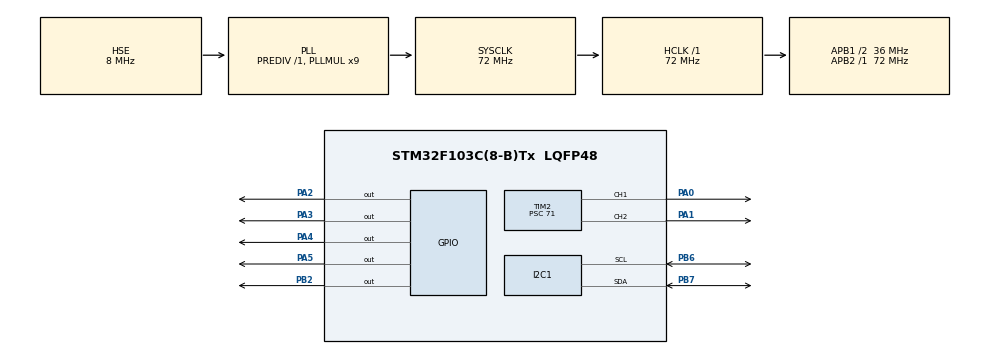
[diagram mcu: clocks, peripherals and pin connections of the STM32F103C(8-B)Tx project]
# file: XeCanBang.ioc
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I2C1.I2C_Mode=I2C_Fast
Mcu.Family=STM32F1
Mcu.Name=STM32F103C(8-B)Tx
Mcu.Package=LQFP48
NVIC.PriorityGroup=NVIC_PRIORITYGROUP_4
PA0-WKUP.Signal=S_TIM2_CH1_ETR
PA1.Signal=S_TIM2_CH2
PA13.Mode=Serial_Wire
PA13.Signal=SYS_JTMS-SWDIO
PA14.Mode=Serial_Wire
PA14.Signal=SYS_JTCK-SWCLK
PA2.Signal=GPIO_Output
PA3.Signal=GPIO_Output
PA4.Signal=GPIO_Output
PA5.Signal=GPIO_Output
PB2.Signal=GPIO_Output
PB6.Mode=I2C
PB6.Signal=I2C1_SCL
PB7.Mode=I2C
PB7.Signal=I2C1_SDA
PD0-OSC_IN.Mode=HSE-External-Oscillator
PD0-OSC_IN.Signal=RCC_OSC_IN
PD1-OSC_OUT.Mode=HSE-External-Oscillator
PD1-OSC_OUT.Signal=RCC_OSC_OUT
ProjectManager.HeapSize=0x200
ProjectManager.StackSize=0x400
ProjectManager.TargetToolchain=MDK-ARM V5.32
RCC.AHBFreq_Value=72000000
RCC.APB1CLKDivider=RCC_HCLK_DIV2
RCC.APB1Freq_Value=36000000
RCC.APB1TimFreq_Value=72000000
RCC.APB2Freq_Value=72000000
RCC.APB2TimFreq_Value=72000000
RCC.HCLKFreq_Value=72000000
RCC.PLLMUL=RCC_PLL_MUL9
RCC.PLLSourceVirtual=RCC_PLLSOURCE_HSE
RCC.SYSCLKFreq_VALUE=72000000
RCC.SYSCLKSource=RCC_SYSCLKSOURCE_PLLCLK
RCC.USBFreq_Value=72000000
SH.S_TIM2_CH1_ETR.0=TIM2_CH1,PWM Generation1 CH1
SH.S_TIM2_CH2.0=TIM2_CH2,PWM Generation2 CH2
TIM1.Prescaler=71
TIM2.Channel-PWM\ Generation1\ CH1=TIM_CHANNEL_1
TIM2.Channel-PWM\ Generation2\ CH2=TIM_CHANNEL_2
TIM2.Period=999
TIM2.Prescaler=71
VP_TIM1_VS_ClockSourceINT.Mode=Internal
VP_TIM2_VS_ClockSourceINT.Mode=Internal
board=custom

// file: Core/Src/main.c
/* USER CODE BEGIN Header */
/**
  ******************************************************************************
  * @file           : main.c
  * @brief          : Main program body
  ******************************************************************************
  * @attention
  *
  * Copyright (c) 2025 STMicroelectronics.
  * All rights reserved.
  *
  * This software is licensed under terms that can be found in the LICENSE file
  * in the root directory of this software component.
  * If no LICENSE file comes with this software, it is provided AS-IS.
  *
  ******************************************************************************
  */
/* USER CODE END Header */
#include "main.h"

/* USER CODE BEGIN Includes */
#include "math.h"
/* USER CODE END Includes */

/* USER CODE BEGIN PD */
#define 		ADD 		0xD0
#define     RTD     57.2957
/* USER CODE END PD */

I2C_HandleTypeDef hi2c1;

TIM_HandleTypeDef htim1;
TIM_HandleTypeDef htim2;

/* USER CODE BEGIN PV */
int16_t ax = 0, ay = 0 , az = 0, gx = 0 ,gy = 0 , gz = 0;
float AX,AY,AZ,GX,GY,GZ;
float pitch = 0;
float roll = 0;
/*
--------2x18650--------
float Kp = 300;          // (P)roportional Tuning Parameter
float Ki = 2000;          // (I)ntegral Tuning Parameter
float Kd =5;          // (D)erivative Tuning Parameter
-----------------------
*/
//--------4x18650 & buck 12v-------------
float Kp = 330;          // (P)roportional Tuning Parameter
float Ki = 6000;          // (I)ntegral Tuning Parameter
float Kd =4;          // (D)erivative Tuning Parameter
//---------------------------------------
float iTerm = 0;       // Used to accumulate error (integral)
float lastTime = 0;    // Records the time the function was last called
float maxPID = 999;    // The maximum value that can be output
float oldValue = 0;    // The last sensor value
float targetValue = 0;
float pwmDead = 0;
/* USER CODE END PV */

void SystemClock_Config(void);
static void MX_GPIO_Init(void);
static void MX_I2C1_Init(void);
static void MX_TIM2_Init(void);
static void MX_TIM1_Init(void);
/* USER CODE BEGIN PFP */
uint8_t MPU6050Init(void);
void MPU6050ReadG(void);
void MPU6050ReadA(void);
void filter(float AX, float AY, float AZ, float GX, float GY, float GZ,uint16_t dt);
/* USER CODE END PFP */

/* USER CODE BEGIN 0 */
uint8_t MPU6050Init(void){
	uint8_t check;
	uint8_t mData;
	HAL_I2C_Mem_Read(&hi2c1,ADD, 0x75,1, &check,1,1000);
	if(check == 0x68){
		mData = 0x01;
		HAL_I2C_Mem_Write(&hi2c1, ADD,0x6B,1,&mData,1,1000);
		mData = 0x07;
		HAL_I2C_Mem_Write(&hi2c1, ADD,0x19,1,&mData,1,1000);
		mData = 0x00;
		HAL_I2C_Mem_Write(&hi2c1, ADD,0x1B,1,&mData,1,1000);
		mData = 0x00;
		HAL_I2C_Mem_Write(&hi2c1, ADD,0x1C,1,&mData,1,1000);
		return 0;
	}
	return 1;
}
void MPU6050ReadG(void){
	uint8_t dataG[6];

	HAL_I2C_Mem_Read(&hi2c1,ADD, 0x43,1, dataG,6,1000);
	gx = (int16_t)(dataG[0] << 8 | dataG[1]);
	gy = (int16_t)(dataG[2] << 8 | dataG[3]);
	gz = (int16_t)(dataG[4] << 8 | dataG[5]);
	GX = (float)gx/131.0;
	GY = (float)gy/131.0;
	GZ = (float)gz/131.0;
}
void MPU6050ReadA(void){
	uint8_t dataA[6];
	HAL_I2C_Mem_Read(&hi2c1,ADD, 0x3B,1, dataA,6,1000);
	ax = (int16_t)(dataA[0] << 8 | dataA[1]);
	ay = (int16_t)(dataA[2] << 8 | dataA[3]);
	az = (int16_t)(dataA[4] << 8 | dataA[5]);
	AX = (float)ax/16384.0;
	AY = (float)ay/16384.0;
	AZ = (float)az/16384.0;
}
void filter(float AX, float AY, float AZ, float GX, float GY, float GZ,uint16_t dt){

	float pitchG = pitch + GX*(dt/1000000.0f);
	float rollG = roll + GY*(dt/1000000.0f);

	float pitchA = atan2(AY, sqrt(AX*AX + AZ * AZ))*RTD;
	float rollA = atan2(AX, sqrt(AY*AY + AZ*AZ))*RTD;

	pitch = 0.98*pitchG + 0.02*pitchA;
	roll = 0.98*rollG + 0.02*rollA;

}
/*
ENA: PA1
ENB: PA0
IN1: PA5
IN2: PA4
IN3: PA3
IN4: PA2
roll < 0 -> Up
roll > 0 -> Down
*/
void PWM_Start(void){
	HAL_TIM_PWM_Start(&htim2, TIM_CHANNEL_1);
	HAL_TIM_PWM_Start(&htim2, TIM_CHANNEL_2);
}
void Right_Up(void){
	HAL_GPIO_WritePin(GPIOA,GPIO_PIN_5,1);
	HAL_GPIO_WritePin(GPIOA,GPIO_PIN_4,0);
}
void Left_Up(void){
	HAL_GPIO_WritePin(GPIOA,GPIO_PIN_3,0);
	HAL_GPIO_WritePin(GPIOA,GPIO_PIN_2,1);
}
void Right_Down(void){
	HAL_GPIO_WritePin(GPIOA,GPIO_PIN_5,0);
	HAL_GPIO_WritePin(GPIOA,GPIO_PIN_4,1);
}
void Left_Down(void){
	HAL_GPIO_WritePin(GPIOA,GPIO_PIN_3,1);
	HAL_GPIO_WritePin(GPIOA,GPIO_PIN_2,0);
}
void Update_PWM(int16_t pwm){
	if(pwm > 0){
		Right_Up();
		Left_Up();
		htim2.Instance->CCR1 = pwm;
		htim2.Instance->CCR2 = pwm;
		return;
	}
	Right_Down();
	Left_Down();
	htim2.Instance->CCR1 = -pwm;
	htim2.Instance->CCR2 = -pwm;
}
void delayus(uint16_t time){
	htim1.Instance->CNT = 0;
	while(htim1.Instance->CNT < time);
}
void delayms(uint16_t time){
	for(uint16_t i = 0; i<time; i++){
		delayus(1000);
	}
}
int16_t pid(float target, float current,uint16_t dt) {
	// Calculate the time since function was last called
	float dT = (float)dt/1000000.0f;

	// Calculate error between target and current values
	float error = target - current;

	// Calculate the integral term
	iTerm += error * dT;
	// Calculate the derivative term (using the simplification)
	float dTerm = (oldValue - current) / dT;

	// Set old variable to equal new ones
	oldValue = current;

	// Multiply each term by its constant, and add it all up
	float result = (error * Kp) + (iTerm * Ki) + (dTerm * Kd);

	// Limit PID value to maximum values
	if (result > maxPID) result = maxPID;
	else if (result < -maxPID) result = -maxPID;
    if (result > 0 && result < pwmDead) result = pwmDead;
    if (result < 0 && result > -pwmDead) result = -pwmDead;

	return (int16_t)result;
}
/* USER CODE END 0 */

int main(void)
{

  /* MCU Configuration--------------------------------------------------------*/

  /* Reset of all peripherals, Initializes the Flash interface and the Systick. */
  HAL_Init();

  /* Configure the system clock */
  SystemClock_Config();

  /* Initialize all configured peripherals */
  MX_GPIO_Init();
  MX_I2C1_Init();
  MX_TIM2_Init();
  MX_TIM1_Init();
  /* USER CODE BEGIN 2 */
	MPU6050Init();
	PWM_Start();
	HAL_TIM_Base_Start(&htim1);
	HAL_GPIO_WritePin(GPIOB,GPIO_PIN_2,1);
	delayms(500);
	HAL_GPIO_WritePin(GPIOB,GPIO_PIN_2,0);
	uint16_t x = 0;
  /* USER CODE END 2 */

  /* Infinite loop */
  /* USER CODE BEGIN WHILE */
  while (1)
  {
		x=htim1.Instance->CNT;
		htim1.Instance->CNT=0;
		MPU6050ReadG();
		MPU6050ReadA();
		filter(AX, AY, AZ, GX, GY, GZ,x);
		int16_t pwmvalue = pid(targetValue, pitch,x);
		Update_PWM(pwmvalue);
		if(pitch > 70 || pitch < -70){
			HAL_TIM_PWM_Stop(&htim2, TIM_CHANNEL_1);
			HAL_TIM_PWM_Stop(&htim2, TIM_CHANNEL_2);
			while(1);
		}
    /* USER CODE END WHILE */

  }
}

void SystemClock_Config(void)
{
  RCC_OscInitTypeDef RCC_OscInitStruct = {0};
  RCC_ClkInitTypeDef RCC_ClkInitStruct = {0};

  /** Initializes the RCC Oscillators according to the specified parameters
  * in the RCC_OscInitTypeDef structure.
  */
  RCC_OscInitStruct.OscillatorType = RCC_OSCILLATORTYPE_HSE;
  RCC_OscInitStruct.HSEState = RCC_HSE_ON;
  RCC_OscInitStruct.HSEPredivValue = RCC_HSE_PREDIV_DIV1;
  RCC_OscInitStruct.HSIState = RCC_HSI_ON;
  RCC_OscInitStruct.PLL.PLLState = RCC_PLL_ON;
  RCC_OscInitStruct.PLL.PLLSource = RCC_PLLSOURCE_HSE;
  RCC_OscInitStruct.PLL.PLLMUL = RCC_PLL_MUL9;
  if (HAL_RCC_OscConfig(&RCC_OscInitStruct) != HAL_OK)
  {
    Error_Handler();
  }

  /** Initializes the CPU, AHB and APB buses clocks
  */
  RCC_ClkInitStruct.ClockType = RCC_CLOCKTYPE_HCLK|RCC_CLOCKTYPE_SYSCLK
                              |RCC_CLOCKTYPE_PCLK1|RCC_CLOCKTYPE_PCLK2;
  RCC_ClkInitStruct.SYSCLKSource = RCC_SYSCLKSOURCE_PLLCLK;
  RCC_ClkInitStruct.AHBCLKDivider = RCC_SYSCLK_DIV1;
  RCC_ClkInitStruct.APB1CLKDivider = RCC_HCLK_DIV2;
  RCC_ClkInitStruct.APB2CLKDivider = RCC_HCLK_DIV1;

  if (HAL_RCC_ClockConfig(&RCC_ClkInitStruct, FLASH_LATENCY_2) != HAL_OK)
  {
    Error_Handler();
  }
}

static void MX_I2C1_Init(void)
{

  hi2c1.Instance = I2C1;
  hi2c1.Init.ClockSpeed = 400000;
  hi2c1.Init.DutyCycle = I2C_DUTYCYCLE_2;
  hi2c1.Init.OwnAddress1 = 0;
  hi2c1.Init.AddressingMode = I2C_ADDRESSINGMODE_7BIT;
  hi2c1.Init.DualAddressMode = I2C_DUALADDRESS_DISABLE;
  hi2c1.Init.OwnAddress2 = 0;
  hi2c1.Init.GeneralCallMode = I2C_GENERALCALL_DISABLE;
  hi2c1.Init.NoStretchMode = I2C_NOSTRETCH_DISABLE;
  if (HAL_I2C_Init(&hi2c1) != HAL_OK)
  {
    Error_Handler();
  }

}

static void MX_TIM1_Init(void)
{

  TIM_ClockConfigTypeDef sClockSourceConfig = {0};
  TIM_MasterConfigTypeDef sMasterConfig = {0};

  htim1.Instance = TIM1;
  htim1.Init.Prescaler = 71;
  htim1.Init.CounterMode = TIM_COUNTERMODE_UP;
  htim1.Init.Period = 65535;
  htim1.Init.ClockDivision = TIM_CLOCKDIVISION_DIV1;
  htim1.Init.RepetitionCounter = 0;
  htim1.Init.AutoReloadPreload = TIM_AUTORELOAD_PRELOAD_DISABLE;
  if (HAL_TIM_Base_Init(&htim1) != HAL_OK)
  {
    Error_Handler();
  }
  sClockSourceConfig.ClockSource = TIM_CLOCKSOURCE_INTERNAL;
  if (HAL_TIM_ConfigClockSource(&htim1, &sClockSourceConfig) != HAL_OK)
  {
    Error_Handler();
  }
  sMasterConfig.MasterOutputTrigger = TIM_TRGO_RESET;
  sMasterConfig.MasterSlaveMode = TIM_MASTERSLAVEMODE_DISABLE;
  if (HAL_TIMEx_MasterConfigSynchronization(&htim1, &sMasterConfig) != HAL_OK)
  {
    Error_Handler();
  }

}

static void MX_TIM2_Init(void)
{

  TIM_ClockConfigTypeDef sClockSourceConfig = {0};
  TIM_MasterConfigTypeDef sMasterConfig = {0};
  TIM_OC_InitTypeDef sConfigOC = {0};

  htim2.Instance = TIM2;
  htim2.Init.Prescaler = 71;
  htim2.Init.CounterMode = TIM_COUNTERMODE_UP;
  htim2.Init.Period = 999;
  htim2.Init.ClockDivision = TIM_CLOCKDIVISION_DIV1;
  htim2.Init.AutoReloadPreload = TIM_AUTORELOAD_PRELOAD_DISABLE;
  if (HAL_TIM_Base_Init(&htim2) != HAL_OK)
  {
    Error_Handler();
  }
  sClockSourceConfig.ClockSource = TIM_CLOCKSOURCE_INTERNAL;
  if (HAL_TIM_ConfigClockSource(&htim2, &sClockSourceConfig) != HAL_OK)
  {
    Error_Handler();
  }
  if (HAL_TIM_PWM_Init(&htim2) != HAL_OK)
  {
    Error_Handler();
  }
  sMasterConfig.MasterOutputTrigger = TIM_TRGO_RESET;
  sMasterConfig.MasterSlaveMode = TIM_MASTERSLAVEMODE_DISABLE;
  if (HAL_TIMEx_MasterConfigSynchronization(&htim2, &sMasterConfig) != HAL_OK)
  {
    Error_Handler();
  }
  sConfigOC.OCMode = TIM_OCMODE_PWM1;
  sConfigOC.Pulse = 0;
  sConfigOC.OCPolarity = TIM_OCPOLARITY_HIGH;
  sConfigOC.OCFastMode = TIM_OCFAST_DISABLE;
  if (HAL_TIM_PWM_ConfigChannel(&htim2, &sConfigOC, TIM_CHANNEL_1) != HAL_OK)
  {
    Error_Handler();
  }
  if (HAL_TIM_PWM_ConfigChannel(&htim2, &sConfigOC, TIM_CHANNEL_2) != HAL_OK)
  {
    Error_Handler();
  }
  HAL_TIM_MspPostInit(&htim2);

}

static void MX_GPIO_Init(void)
{
  GPIO_InitTypeDef GPIO_InitStruct = {0};

  /* GPIO Ports Clock Enable */
  __HAL_RCC_GPIOD_CLK_ENABLE();
  __HAL_RCC_GPIOA_CLK_ENABLE();
  __HAL_RCC_GPIOB_CLK_ENABLE();

  /*Configure GPIO pin Output Level */
  HAL_GPIO_WritePin(GPIOA, GPIO_PIN_2|GPIO_PIN_3|GPIO_PIN_4|GPIO_PIN_5, GPIO_PIN_RESET);

  /*Configure GPIO pin Output Level */
  HAL_GPIO_WritePin(GPIOB, GPIO_PIN_2, GPIO_PIN_RESET);

  /*Configure GPIO pins : PA2 PA3 PA4 PA5 */
  GPIO_InitStruct.Pin = GPIO_PIN_2|GPIO_PIN_3|GPIO_PIN_4|GPIO_PIN_5;
  GPIO_InitStruct.Mode = GPIO_MODE_OUTPUT_PP;
  GPIO_InitStruct.Pull = GPIO_NOPULL;
  GPIO_InitStruct.Speed = GPIO_SPEED_FREQ_LOW;
  HAL_GPIO_Init(GPIOA, &GPIO_InitStruct);

  /*Configure GPIO pin : PB2 */
  GPIO_InitStruct.Pin = GPIO_PIN_2;
  GPIO_InitStruct.Mode = GPIO_MODE_OUTPUT_PP;
  GPIO_InitStruct.Pull = GPIO_NOPULL;
  GPIO_InitStruct.Speed = GPIO_SPEED_FREQ_LOW;
  HAL_GPIO_Init(GPIOB, &GPIO_InitStruct);

}

void Error_Handler(void)
{
  __disable_irq();
  while (1)
  {
  }
}
